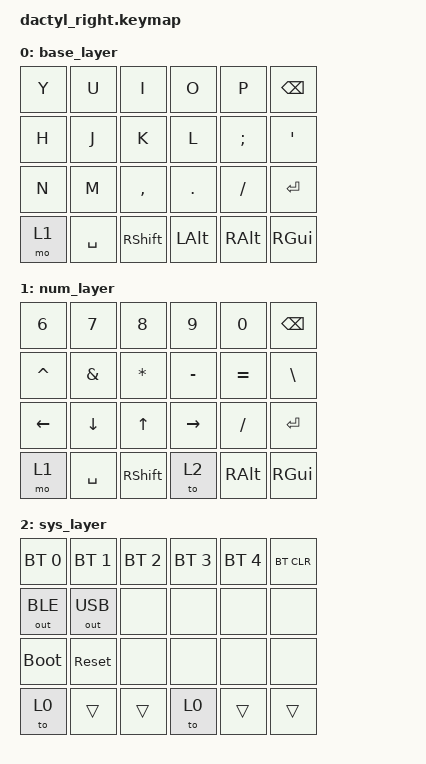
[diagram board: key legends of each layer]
#include <behaviors.dtsi>
#include <dt-bindings/zmk/keys.h>
#include <dt-bindings/zmk/bt.h>
#include <dt-bindings/zmk/outputs.h>

/ {
    keymap {
        compatible = "zmk,keymap";

        base_layer {
            bindings = <
                &kp Y      &kp U      &kp I      &kp O      &kp P      &kp BSPC
                &kp H      &kp J      &kp K      &kp L      &kp SEMI   &kp SQT
                &kp N      &kp M      &kp COMMA  &kp DOT    &kp FSLH   &kp ENTER
                &mo 1      &kp SPACE  &kp RSHFT  &kp LALT   &kp RALT   &kp RGUI
            >;
        };

        num_layer {
            bindings = <
                &kp N6     &kp N7     &kp N8     &kp N9     &kp N0     &kp BSPC
                &kp CARET  &kp AMPS   &kp STAR   &kp MINUS  &kp EQUAL  &kp BSLH
                &kp LEFT   &kp DOWN   &kp UP     &kp RIGHT  &kp FSLH   &kp ENTER
                &mo 1      &kp SPACE  &kp RSHFT  &to 2      &kp RALT   &kp RGUI
            >;
        };

        sys_layer {
            bindings = <
                &bt BT_SEL 0  &bt BT_SEL 1  &bt BT_SEL 2  &bt BT_SEL 3  &bt BT_SEL 4  &bt BT_CLR
                &out OUT_BLE  &out OUT_USB  &none         &none         &none         &none
                &bootloader   &sys_reset    &none         &none         &none         &none
                &to 0         &trans        &trans        &to 0         &trans        &trans
            >;
        };
    };
};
